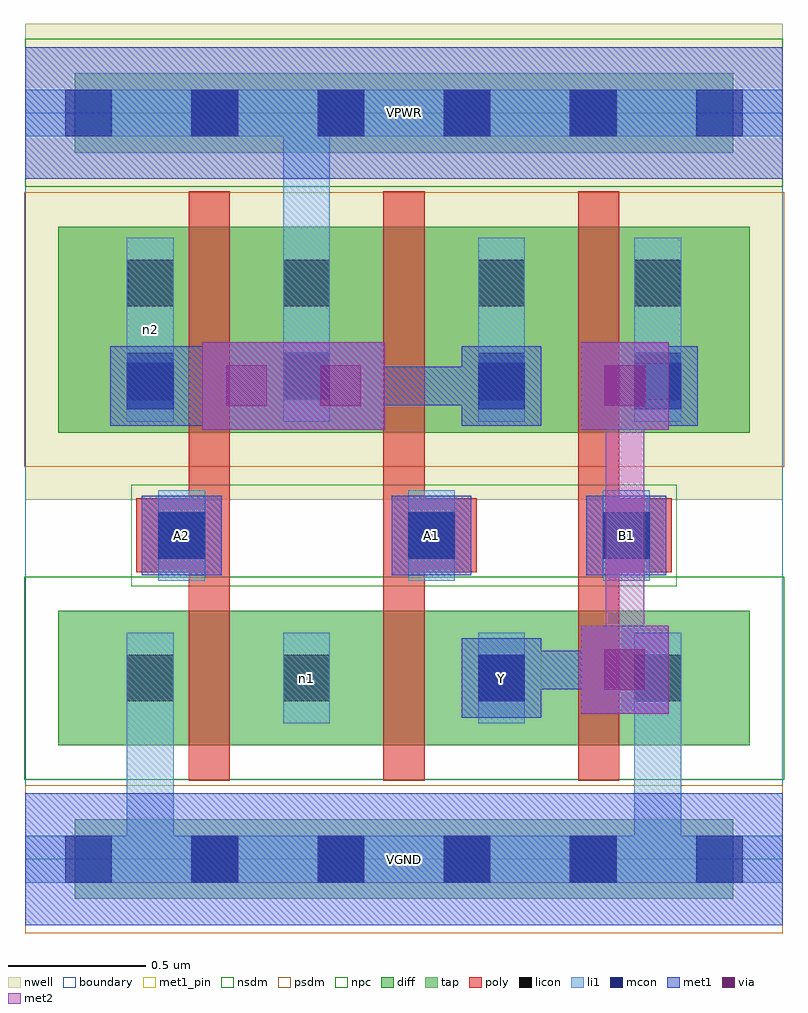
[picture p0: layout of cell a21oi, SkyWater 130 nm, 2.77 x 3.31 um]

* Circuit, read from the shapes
.subckt a21oi A1 A2 B1 VGND VPWR Y n1 n2
XM1 n1 A2 VGND VGND sky130_fd_pr__nfet_01v8 w=0.49 l=0.15
XM2 Y A1 n1 VGND sky130_fd_pr__nfet_01v8 w=0.49 l=0.15
XM3 VGND B1 Y VGND sky130_fd_pr__nfet_01v8 w=0.49 l=0.15
XM4 VPWR A2 n2 VPWR sky130_fd_pr__pfet_01v8 w=0.75 l=0.15
XM5 n2 A1 VPWR VPWR sky130_fd_pr__pfet_01v8 w=0.75 l=0.15
XM6 Y B1 n2 VPWR sky130_fd_pr__pfet_01v8 w=0.75 l=0.15
.ends

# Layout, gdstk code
import gdstk
lib = gdstk.Library(unit=1e-6, precision=1e-09)
def R(c, l, rs):  # rectangles x0, y0, x1, y1
    for r in rs: c.add(gdstk.rectangle(r[:2], r[2:], *l))
def A(c, l, x, y, w, h, nx, ny, dx, dy):  # array of equal rectangles
    R(c, l, [(x+i*dx, y+j*dy, x+i*dx+w, y+j*dy+h) for i in range(nx) for j in range(ny)])
nwell = (64, 20)
diff = (65, 20)
tap = (65, 44)
poly = (66, 20)
licon = (66, 44)
li1 = (67, 20)
mcon = (67, 44)
met1_pin = (68, 16)
met1 = (68, 20)
via = (68, 44)
met2 = (69, 20)
nsdm = (93, 44)
psdm = (94, 20)
npc = (95, 20)
boundary = (235, 4)

a21oi = lib.new_cell('a21oi')
R(a21oi, nwell, [(0,1.31,2.76,3.045)])
R(a21oi, diff, [(0.12,0.415,2.64,0.905), (0.12,1.555,2.64,2.305)])
R(a21oi, tap, [(0.18,-0.145,2.58,0.145), (0.18,2.575,2.58,2.865)])
A(a21oi, poly, 0.595, 0.285, 0.15, 2.15, 3, 1, 0.71, 0)
R(a21oi, poly, [(0.405,1.045,0.735,1.315), (1.315,1.045,1.645,1.315), (2.025,1.045,2.355,1.315)])
A(a21oi, licon, 0.605, -0.085, 0.17, 0.17, 4, 2, 0.46, 2.72)
R(a21oi, licon, [(0.37,0.575,0.54,0.745), (0.94,0.575,1.11,0.745), (1.65,0.575,1.82,0.745), (2.22,0.575,2.39,0.745), (0.485,1.095,0.655,1.265), (1.395,1.095,1.565,1.265), (2.105,1.095,2.275,1.265), (0.37,1.675,0.54,1.845), (0.94,1.675,1.11,1.845), (1.65,1.675,1.82,1.845), (2.22,1.675,2.39,1.845), (0.37,2.015,0.54,2.185), (0.94,2.015,1.11,2.185), (1.65,2.015,1.82,2.185), (2.22,2.015,2.39,2.185)])
R(a21oi, li1, [(0,-0.085,2.76,0.085), (0.37,-0.085,0.54,0.825), (2.22,-0.085,2.39,0.825), (0.37,0.495,0.54,0.825), (0.94,0.495,1.11,0.825), (1.65,0.495,1.82,0.825), (2.22,0.495,2.39,0.825), (0.485,1.015,0.655,1.345), (1.395,1.015,1.565,1.345), (2.105,1.015,2.275,1.345), (0.37,1.595,0.54,2.265), (0.94,1.595,1.11,2.265), (0.94,1.595,1.11,2.805), (1.65,1.595,1.82,2.265), (2.22,1.595,2.39,2.265), (0,2.635,2.76,2.805)])
A(a21oi, mcon, 0.145, -0.085, 0.17, 0.17, 6, 2, 0.46, 2.72)
R(a21oi, mcon, [(1.65,0.575,1.82,0.745), (0.485,1.095,0.655,1.265), (1.395,1.095,1.565,1.265), (2.105,1.095,2.275,1.265), (0.37,1.64,0.54,1.81), (1.65,1.64,1.82,1.81), (2.22,1.64,2.39,1.81)])
R(a21oi, met1_pin, [(0,-0.24,2.76,0.24), (1.59,0.515,1.88,0.805), (0.425,1.035,0.715,1.325), (1.335,1.035,1.625,1.325), (2.045,1.035,2.335,1.325), (0,2.48,2.76,2.96)])
R(a21oi, met1, [(0,-0.24,2.76,0.24), (1.59,0.515,1.88,0.805), (2.025,0.53,2.345,0.85), (1.655,0.62,2.255,0.76), (1.655,0.62,1.795,0.76), (0.425,1.035,0.715,1.325), (1.335,1.035,1.625,1.325), (2.045,1.035,2.335,1.325), (0.645,1.565,0.965,1.885), (0.965,1.565,0.99,1.885), (0.99,1.565,1.31,1.885), (2.025,1.565,2.345,1.885), (0.31,1.58,0.6,1.87), (0.6,1.58,0.645,1.87), (1.59,1.58,1.88,1.87), (2.16,1.58,2.45,1.87), (0.385,1.655,0.645,1.795), (0.505,1.655,0.875,1.795), (0.875,1.655,0.99,1.795), (0.965,1.655,1.08,1.795), (1.08,1.655,1.68,1.795), (1.54,1.655,1.805,1.795), (2.115,1.655,2.375,1.795), (0,2.48,2.76,2.96)])
R(a21oi, via, [(2.11,0.615,2.26,0.765), (0.73,1.65,0.88,1.8), (1.075,1.65,1.225,1.8), (2.11,1.65,2.26,1.8)])
R(a21oi, met2, [(2.025,0.53,2.345,0.85), (2.115,0.62,2.255,1.795), (0.645,1.565,0.965,1.885), (0.965,1.565,0.99,1.885), (0.99,1.565,1.31,1.885), (2.025,1.565,2.345,1.885), (0.735,1.655,1.22,1.795)])
R(a21oi, nsdm, [(-0.005,0.29,2.765,1.03), (0,2.45,2.76,2.99)])
R(a21oi, psdm, [(0,-0.27,2.76,0.27), (-0.005,1.43,2.765,2.43)])
R(a21oi, npc, [(0.385,0.995,2.375,1.365)])
R(a21oi, boundary, [(0,0,2.76,2.72)])
a21oi.add(gdstk.Label('n1', (1.025,0.66), layer=67, texttype=5))
a21oi.add(gdstk.Label('n2', (0.455,1.93), layer=67, texttype=5))
a21oi.add(gdstk.Label('A2', (0.57,1.18), layer=68, texttype=5))
a21oi.add(gdstk.Label('A1', (1.48,1.18), layer=68, texttype=5))
a21oi.add(gdstk.Label('B1', (2.19,1.18), layer=68, texttype=5))
a21oi.add(gdstk.Label('Y', (1.735,0.66), layer=68, texttype=5))
a21oi.add(gdstk.Label('VPWR', (1.38,2.72), layer=68, texttype=5))
a21oi.add(gdstk.Label('VGND', (1.38,0), layer=68, texttype=5))
a21oi.add(gdstk.Label('A2', (0.57,1.18), layer=68, texttype=16))
a21oi.add(gdstk.Label('A1', (1.48,1.18), layer=68, texttype=16))
a21oi.add(gdstk.Label('B1', (2.19,1.18), layer=68, texttype=16))
a21oi.add(gdstk.Label('Y', (1.735,0.66), layer=68, texttype=16))
a21oi.add(gdstk.Label('VPWR', (1.38,2.72), layer=68, texttype=16))
a21oi.add(gdstk.Label('VGND', (1.38,0), layer=68, texttype=16))

lib.write_gds('a21oi.gds')
